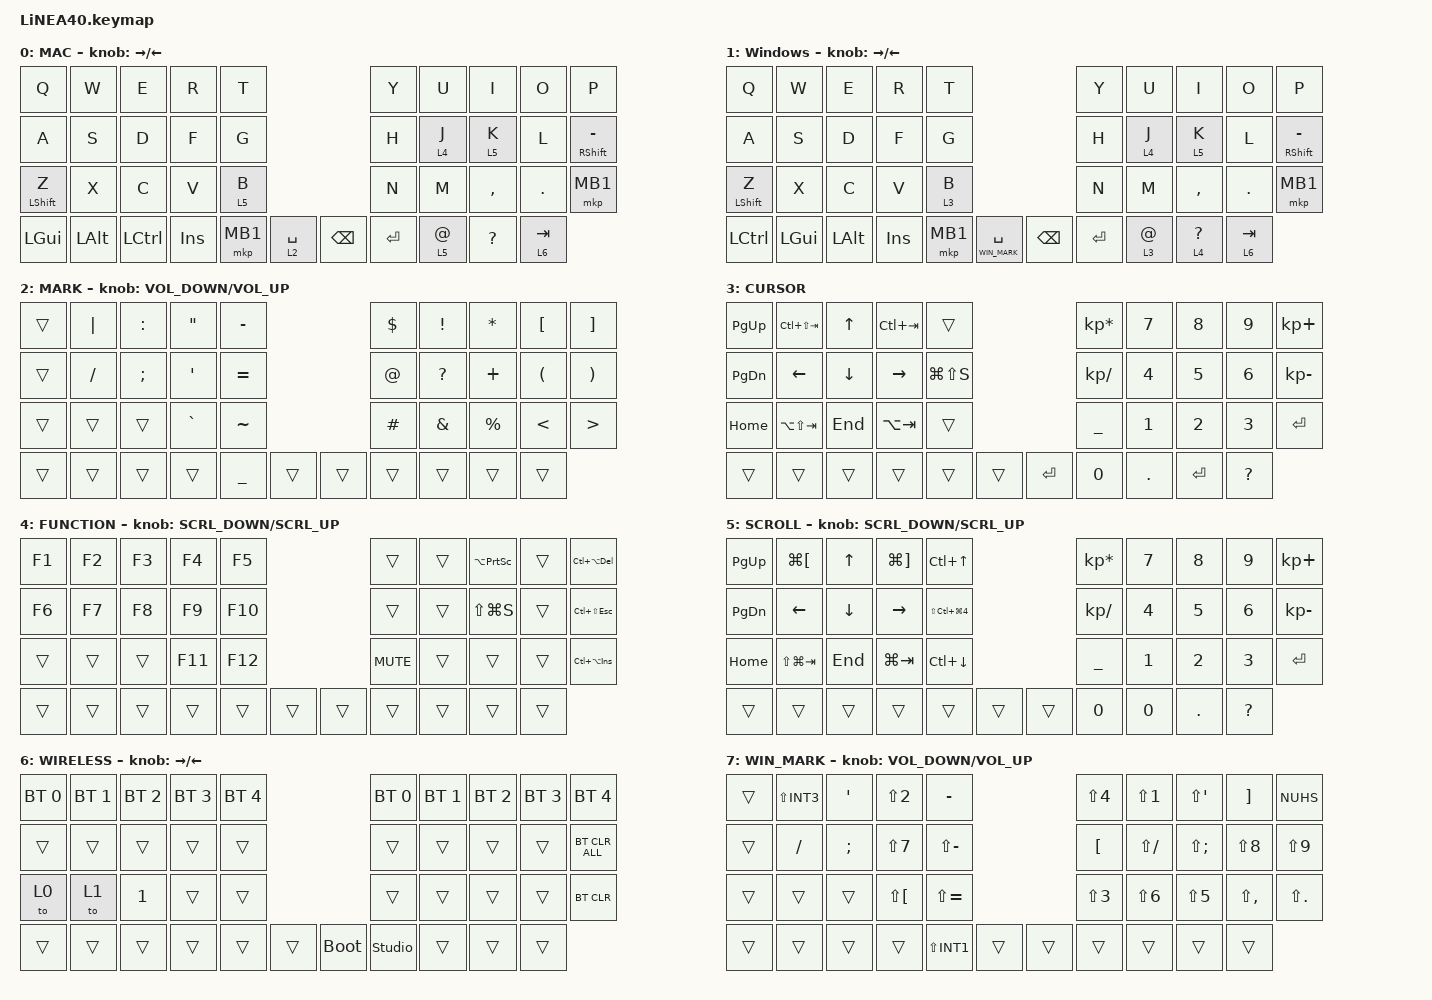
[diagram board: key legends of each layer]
#define ZMK_POINTING_DEFAULT_SCRL_VAL 150

#include <dt-bindings/zmk/input_transform.h>
#include <input/processors.dtsi>
#include <zephyr/dt-bindings/input/input-event-codes.h>
#include <behaviors.dtsi>
#include <dt-bindings/zmk/bt.h>
#include <dt-bindings/zmk/keys.h>
#include <dt-bindings/zmk/pointing.h>

/* =========================================================
 * Layer numbers
 * ========================================================= */

#define MOUSE 1
#define MARK 2
#define CURSOR 3
#define FUNCTION 4
#define SCROLL 5
#define WIRELESS 6
#define WIN_MARK 7

/* =========================================================
 * Windows JIS symbol mapping
 * ========================================================= */
// 基本記号

#define JP_PIPE       LS(INT3)   // |
#define JP_COLON      SQT        // :
#define JP_DQT        LS(N2)     // "
#define JP_MINUS      MINUS      // -
#define JP_DOLLAR     LS(N4)     // $
#define JP_EXCL       LS(N1)     // !
#define JP_ASTRK      LS(SQT)    // *
#define JP_LBKT       RBKT       // [
#define JP_RBKT       NUHS       // ]
#define JP_SLASH      SLASH      // /
#define JP_SEMI       SEMI       // ;
#define JP_SQT        LS(N7)     // '
#define JP_EQUAL      LS(MINUS)  // =
#define JP_AT         LBKT       // @
#define JP_QMARK      LS(SLASH)  // ?
#define JP_PLUS       LS(SEMI)   // +
#define JP_LPAR       LS(N8)     // (
#define JP_RPAR       LS(N9)     // )
#define JP_GRAVE      LS(LBKT)   // `
#define JP_TILDE      LS(EQUAL)  // ~
#define JP_HASH       LS(N3)     // #
#define JP_AMPS       LS(N6)     // &
#define JP_PRCNT      LS(N5)     // %
#define JP_LT         LS(COMMA)  // <
#define JP_GT         LS(DOT)    // >
#define JP_UNDER      LS(INT1)   // _

/* =========================================================
 * Mouse cursor
 * ========================================================= */

&mmv {
    delay-ms = <20>;
    trigger-period-ms = <5>;
    time-to-max-speed-ms = <100>;
    acceleration-exponent = <2>;
};

/* =========================================================
 * Mouse scroll
 * ========================================================= */

&msc {
    delay-ms = <5>;
    trigger-period-ms = <5>;
    time-to-max-speed-ms = <100>;
    acceleration-exponent = <0>;
};

/* =========================================================
 * Input processors
 * ========================================================= */

/ {
    input_processors {
        zip_wheel_scaler: zip_wheel_scaler {
            compatible = "zmk,input-processor-scaler";
            #input-processor-cells = <2>;
            type = <INPUT_EV_REL>;
            codes = <INPUT_REL_WHEEL>;
            track-remainders;
        };
    };
};

&msc_input_listener {
    speed_up {
        layers = <FUNCTION>;
        input-processors = <&zip_wheel_scaler 1 1>;
    };
};

&trackball_listener {
    input-processors = <&zip_xy_scaler 2 3>;

    precision {
        layers = <FUNCTION>;
        input-processors = <&zip_xy_scaler 2 5>;
    };

    scroller {
        layers = <SCROLL>;
        input-processors = <
            &zip_xy_to_scroll_mapper
            &zip_scroll_scaler 1 2
        >;
    };
};

/* =========================================================
 * Main
 * ========================================================= */

/ {
    combos {
        compatible = "zmk,combos";

        DeleteKey {
            bindings = <&kp DEL>;
            key-positions = <8 9>;
        };

        PrevClick {
            bindings = <&mkp MB4>;
            key-positions = <23 22>;
        };

        ClickNext {
            bindings = <&mkp MB5>;
            key-positions = <24 23>;
        };

        kana {
            bindings = <&kp LANGUAGE_1>;
            key-positions = <17 16>;
        };

        eisu {
            bindings = <&kp LANGUAGE_2>;
            key-positions = <12 13>;
        };

        esc {
            bindings = <&kp ESCAPE>;
            key-positions = <1 0>;
        };

        right_click {
            bindings = <&mkp MB2>;
            key-positions = <27 28>;
        };
    };

    /* =====================================================
     * Behaviors
     * ===================================================== */

    behaviors {
        re_kp: sensor_rotate_kp {
            compatible = "zmk,behavior-sensor-rotate-var";
            #sensor-binding-cells = <2>;
            bindings = <&kp>, <&kp>;
        };

        mouse_scrl: mouse_wheel_scrl {
            compatible = "zmk,behavior-sensor-rotate-var";
            #sensor-binding-cells = <2>;
            bindings = <&msc>, <&msc>;

            tap-ms = <20>;
        };

        homerow_mod: homerow_mod {
            compatible = "zmk,behavior-hold-tap";
            #binding-cells = <2>;
            flavor = "balanced";
            tapping-term-ms = <250>;
            quick-tap-ms = <175>;
            require-prior-idle-ms = <125>;
            bindings = <&kp>, <&kp>;
        };

        left_hand_mod: left_hand_mod {
            compatible = "zmk,behavior-hold-tap";
            #binding-cells = <2>;
            flavor = "hold-preferred";
            tapping-term-ms = <250>;
            quick-tap-ms = <200>;
            require-prior-idle-ms = <100>;
            bindings = <&kp>, <&kp>;

            hold-trigger-key-positions = <
                5 6 7 8 9
                15 16 17 18 19
                25 26 27 28 29
                35 36 37 38 39 40
            >;

            hold-trigger-on-release;
        };

        gui_mb3: gui_mb3 {
            compatible = "zmk,behavior-hold-tap";
            #binding-cells = <2>;
            flavor = "balanced";
            tapping-term-ms = <200>;
            bindings = <&kp>, <&mkp>;
        };

        mouse_layer_tap: mouse_layer_tap {
            compatible = "zmk,behavior-hold-tap";
            #binding-cells = <2>;
            flavor = "balanced";
            tapping-term-ms = <100>;
            bindings = <&mo>, <&mkp>;
        };
    };

    /* =====================================================
     * Bluetooth macros
     * ===================================================== */

    macros {
        bt0_mac_map: bt1_map {
            compatible = "zmk,behavior-macro";
            #binding-cells = <0>;
            bindings = <&bt BT_SEL 0>, <&macro_wait_time 200>, <&to 0>;

            label = "BT1_MAP";
        };

        bt1_win_map: bt1_win_map {
            compatible = "zmk,behavior-macro";
            #binding-cells = <0>;
            bindings = <&bt BT_SEL 1>, <&macro_wait_time 200>, <&to 1>;

            label = "BT1_WIN_MAP";
        };

        bt2_ipad_map: bt2_ipad_map {
            compatible = "zmk,behavior-macro";
            #binding-cells = <0>;
            bindings = <&bt BT_SEL 2>, <&macro_wait_time 200>, <&to 0>;

            label = "BT2_IPAD_MAP";
        };
    };

    /* =====================================================
     * Keymap
     * ===================================================== */

    keymap {
        compatible = "zmk,keymap";

        /* =================================================
         * 0 : MAC
         * ================================================= */

        MAC {
            bindings = <
&kp Q                      &kp W         &kp E             &kp R    &kp T                                   &kp Y      &kp U    &kp I          &kp O         &kp P
&kp A                      &kp S         &kp D             &kp F    &kp G                                   &kp H      &lt 4 J  &lt 5 K        &kp L         &mt RIGHT_SHIFT MINUS
&homerow_mod LEFT_SHIFT Z  &kp X         &kp C             &kp V    &lt 5 B                                 &kp N      &kp M    &kp COMMA      &kp PERIOD    &mkp MB1
&kp LEFT_GUI               &kp LEFT_ALT  &kp LEFT_CONTROL  &kp INS  &mkp MB1  &lt 2 SPACE    &kp BACKSPACE  &kp ENTER           &lt 5 AT_SIGN  &kp QUESTION  &lt 6 TAB
            >;

            sensor-bindings = <&re_kp RIGHT LEFT>;
        };

        /* =================================================
         * 1 : WINDOWS
         *
         * Space長押し:
         *   変更前 → MARK(2)
         *   変更後 → WIN_MARK(7)
         * ================================================= */

        Windows {
            bindings = <
&kp Q                      &kp W         &kp E         &kp R    &kp T                                          &kp Y      &kp U    &kp I          &kp O           &kp P
&kp A                      &kp S         &kp D         &kp F    &kp G                                          &kp H      &lt 4 J  &lt 5 K        &kp L           &mt RIGHT_SHIFT MINUS
&homerow_mod LEFT_SHIFT Z  &kp X         &kp C         &kp V    &lt 3 B                                        &kp N      &kp M    &kp COMMA      &kp PERIOD      &mkp MB1
&kp LEFT_CONTROL           &kp LEFT_GUI  &kp LEFT_ALT  &kp INS  &mkp MB1  &lt WIN_MARK SPACE    &kp BACKSPACE  &kp ENTER           &lt 3 AT_SIGN  &lt 4 QUESTION  &lt 6 TAB
            >;

            sensor-bindings = <&re_kp RIGHT LEFT>;
        };

        /* =================================================
         * 2 : MARK
         * Mac / iPad用
         * ================================================= */

        MARK {
            bindings = <
&trans  &kp PIPE   &kp COLON      &kp DOUBLE_QUOTES  &kp MINUS                         &kp DOLLAR   &kp EXCLAMATION  &kp ASTERISK  &kp LEFT_BRACKET      &kp RIGHT_BRACKET
&trans  &kp SLASH  &kp SEMICOLON  &kp SQT            &kp EQUAL                         &kp AT_SIGN  &kp QUESTION     &kp PLUS      &kp LEFT_PARENTHESIS  &kp RIGHT_PARENTHESIS
&trans  &trans     &trans         &kp GRAVE          &kp TILDE                         &kp HASH     &kp AMPERSAND    &kp PERCENT   &kp LESS_THAN         &kp GREATER_THAN
&trans  &trans     &trans         &trans             &kp UNDERSCORE  &trans    &trans  &trans                        &trans        &trans                &trans
            >;

            sensor-bindings = <&re_kp C_VOLUME_DOWN C_VOLUME_UP>;
        };

        /* =================================================
         * 3 : CURSOR
         * ================================================= */

        CURSOR {
            bindings = <
&kp PAGE_UP    &kp LC(LS(TAB))  &kp UP_ARROW  &kp LC(TAB)      &trans                              &kp KP_MULTIPLY  &kp NUMBER_7  &kp NUMBER_8  &kp NUMBER_9  &kp KP_PLUS
&kp PAGE_DOWN  &kp LEFT_ARROW   &kp DOWN      &kp RIGHT_ARROW  &kp LG(LS(S))                       &kp KP_SLASH     &kp NUMBER_4  &kp NUMBER_5  &kp NUMBER_6  &kp KP_MINUS
&kp HOME       &kp LA(LS(TAB))  &kp END       &kp LA(TAB)      &trans                              &kp UNDER        &kp NUMBER_1  &kp NUMBER_2  &kp NUMBER_3  &kp ENTER
&trans         &trans           &trans        &trans           &trans         &trans    &kp ENTER  &kp NUMBER_0                   &kp DOT       &kp ENTER     &kp QUESTION
            >;
        };

        /* =================================================
         * 4 : FUNCTION
         * ================================================= */

        FUNCTION {
            bindings = <
&kp F1  &kp F2  &kp F3  &kp F4   &kp F5                     &trans      &trans  &kp LA(PRINTSCREEN)  &trans  &kp LC(LA(DELETE))
&kp F6  &kp F7  &kp F8  &kp F9   &kp F10                    &trans      &trans  &kp LS(LG(S))        &trans  &kp LC(LS(ESCAPE))
&trans  &trans  &trans  &kp F11  &kp F12                    &kp C_MUTE  &trans  &trans               &trans  &kp LC(LA(INS))
&trans  &trans  &trans  &trans   &trans   &trans    &trans  &trans              &trans               &trans  &trans
            >;

            sensor-bindings = <&mouse_scrl SCRL_DOWN SCRL_UP>;
        };

        /* =================================================
         * 5 : SCROLL
         * ================================================= */

        SCROLL {
            bindings = <
&kp PAGE_UP    &kp LG(LEFT_BRACKET)  &kp UP_ARROW  &kp LG(RIGHT_BRACKET)  &kp LC(UP_ARROW)                            &kp KP_MULTIPLY  &kp NUMBER_7  &kp NUMBER_8  &kp NUMBER_9  &kp KP_PLUS
&kp PAGE_DOWN  &kp LEFT_ARROW        &kp DOWN      &kp RIGHT_ARROW        &kp LS(LC(LG(NUMBER_4)))                    &kp KP_SLASH     &kp NUMBER_4  &kp NUMBER_5  &kp NUMBER_6  &kp KP_MINUS
&kp HOME       &kp LS(LG(TAB))       &kp END       &kp LG(TAB)            &kp LC(DOWN)                                &kp UNDER        &kp NUMBER_1  &kp NUMBER_2  &kp NUMBER_3  &kp ENTER
&trans         &trans                &trans        &trans                 &trans                    &trans    &trans  &kp NUMBER_0                   &kp NUMBER_0  &kp DOT       &kp QUESTION
            >;

            sensor-bindings = <&mouse_scrl SCRL_DOWN SCRL_UP>;
        };

        /* =================================================
         * 6 : WIRELESS
         * ================================================= */

        WIRELESS {
            bindings = <
&bt BT_SEL 0  &bt BT_SEL 1  &bt BT_SEL 2  &bt BT_SEL 3  &bt BT_SEL 4                         &bt BT_SEL 0    &bt BT_SEL 1  &bt BT_SEL 2  &bt BT_SEL 3  &bt BT_SEL 4
&trans        &trans        &trans        &trans        &trans                               &trans          &trans        &trans        &trans        &bt BT_CLR_ALL
&to 0         &to 1         &kp NUMBER_1  &trans        &trans                               &trans          &trans        &trans        &trans        &bt BT_CLR
&trans        &trans        &trans        &trans        &trans        &trans    &bootloader  &studio_unlock                &trans        &trans        &trans
            >;

            sensor-bindings = <&inc_dec_kp RIGHT_ARROW LEFT_ARROW>;
        };

        /* =================================================
         * 7 : WIN_MARK
         *
         * Windows 106/109 JIS配列専用
         *
         * 配置はMARKレイヤーと同じ。
         * 出力だけJIS Windows向けに変換。
         * ================================================= */

        WIN_MARK {
            bindings = <
&trans  &kp JP_PIPE   &kp JP_COLON  &kp JP_DQT    &kp JP_MINUS                    &kp JP_DOLLAR  &kp JP_EXCL   &kp JP_ASTRK  &kp JP_LBKT  &kp JP_RBKT
&trans  &kp JP_SLASH  &kp JP_SEMI   &kp JP_SQT    &kp JP_EQUAL                    &kp JP_AT      &kp JP_QMARK  &kp JP_PLUS   &kp JP_LPAR  &kp JP_RPAR
&trans  &trans        &trans        &kp JP_GRAVE  &kp JP_TILDE                    &kp JP_HASH    &kp JP_AMPS   &kp JP_PRCNT  &kp JP_LT    &kp JP_GT
&trans  &trans        &trans        &trans        &kp JP_UNDER  &trans    &trans  &trans                       &trans        &trans       &trans
            >;

            sensor-bindings = <&re_kp C_VOLUME_DOWN C_VOLUME_UP>;
        };
    };
};
